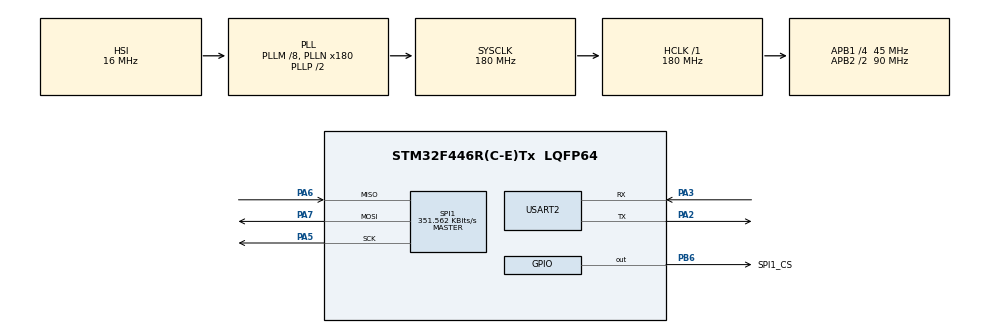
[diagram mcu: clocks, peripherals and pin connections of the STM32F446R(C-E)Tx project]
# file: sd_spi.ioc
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Mcu.Family=STM32F4
Mcu.Name=STM32F446R(C-E)Tx
Mcu.Package=LQFP64
NVIC.PriorityGroup=NVIC_PRIORITYGROUP_4
PA13.Mode=Serial_Wire
PA13.Signal=SYS_JTMS-SWDIO
PA14.Mode=Serial_Wire
PA14.Signal=SYS_JTCK-SWCLK
PA2.Mode=Asynchronous
PA2.Signal=USART2_TX
PA3.Mode=Asynchronous
PA3.Signal=USART2_RX
PA5.GPIO_PuPd=GPIO_NOPULL
PA5.GPIO_Speed=GPIO_SPEED_FREQ_LOW
PA5.Mode=Full_Duplex_Master
PA5.Signal=SPI1_SCK
PA6.GPIO_PuPd=GPIO_NOPULL
PA6.GPIO_Speed=GPIO_SPEED_FREQ_LOW
PA6.Mode=Full_Duplex_Master
PA6.Signal=SPI1_MISO
PA7.GPIO_PuPd=GPIO_NOPULL
PA7.GPIO_Speed=GPIO_SPEED_FREQ_LOW
PA7.Mode=Full_Duplex_Master
PA7.Signal=SPI1_MOSI
PB6.GPIO_Label=SPI1_CS
PB6.GPIO_PuPd=GPIO_NOPULL
PB6.PinState=GPIO_PIN_SET
PB6.Signal=GPIO_Output
ProjectManager.HeapSize=0x200
ProjectManager.StackSize=0x400
ProjectManager.TargetToolchain=STM32CubeIDE
RCC.AHBFreq_Value=180000000
RCC.APB1CLKDivider=RCC_HCLK_DIV4
RCC.APB1Freq_Value=45000000
RCC.APB1TimFreq_Value=90000000
RCC.APB2CLKDivider=RCC_HCLK_DIV2
RCC.APB2Freq_Value=90000000
RCC.APB2TimFreq_Value=180000000
RCC.CortexFreq_Value=180000000
RCC.HCLKFreq_Value=180000000
RCC.PLLM=8
RCC.PLLN=180
RCC.SYSCLKFreq_VALUE=180000000
RCC.SYSCLKSource=RCC_SYSCLKSOURCE_PLLCLK
RCC.USBFreq_Value=180000000
RCC.VCOOutputFreq_Value=360000000
SPI1.BaudRatePrescaler=SPI_BAUDRATEPRESCALER_256
SPI1.CalculateBaudRate=351.562 KBits/s
SPI1.Direction=SPI_DIRECTION_2LINES
SPI1.Mode=SPI_MODE_MASTER
SPI1.VirtualType=VM_MASTER
USART2.VirtualMode=VM_ASYNC
VP_FATFS_VS_Generic.Mode=User_defined
board=custom

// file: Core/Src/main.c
/* USER CODE BEGIN Header */
/**
  ******************************************************************************
  * @file           : main.c
  * @brief          : Main program body
  ******************************************************************************
  * @attention
  *
  * Copyright (c) 2024 STMicroelectronics.
  * All rights reserved.
  *
  * This software is licensed under terms that can be found in the LICENSE file
  * in the root directory of this software component.
  * If no LICENSE file comes with this software, it is provided AS-IS.
  *
  ******************************************************************************
  */
/* USER CODE END Header */
#include "main.h"
#include "fatfs.h"

/* USER CODE BEGIN Includes */
#include <stdio.h>
#include <string.h>
#include "sd.h"
/* USER CODE END Includes */

SPI_HandleTypeDef hspi1;

UART_HandleTypeDef huart2;

void SystemClock_Config(void);
static void MX_GPIO_Init(void);
static void MX_SPI1_Init(void);
static void MX_USART2_UART_Init(void);

int main(void)
{

  /* MCU Configuration--------------------------------------------------------*/

  /* Reset of all peripherals, Initializes the Flash interface and the Systick. */
  HAL_Init();

  /* Configure the system clock */
  SystemClock_Config();

  /* Initialize all configured peripherals */
  MX_GPIO_Init();
  MX_SPI1_Init();
  MX_USART2_UART_Init();
  MX_FATFS_Init();
  /* USER CODE BEGIN 2 */
  HAL_Delay(1000);
  sd_card_mount();
  sd_card_read("test.txt");
  sd_card_write("write.txt", "FUCKING these hoes like im Don Juan\r\n");
  sd_card_read("write.txt");
  sd_card_unmount();
  /* USER CODE END 2 */

  /* Infinite loop */
  while (1)
  {

  }
}

void SystemClock_Config(void)
{
  RCC_OscInitTypeDef RCC_OscInitStruct = {0};
  RCC_ClkInitTypeDef RCC_ClkInitStruct = {0};

  /** Configure the main internal regulator output voltage
  */
  __HAL_RCC_PWR_CLK_ENABLE();
  __HAL_PWR_VOLTAGESCALING_CONFIG(PWR_REGULATOR_VOLTAGE_SCALE1);

  /** Initializes the RCC Oscillators according to the specified parameters
  * in the RCC_OscInitTypeDef structure.
  */
  RCC_OscInitStruct.OscillatorType = RCC_OSCILLATORTYPE_HSI;
  RCC_OscInitStruct.HSIState = RCC_HSI_ON;
  RCC_OscInitStruct.HSICalibrationValue = RCC_HSICALIBRATION_DEFAULT;
  RCC_OscInitStruct.PLL.PLLState = RCC_PLL_ON;
  RCC_OscInitStruct.PLL.PLLSource = RCC_PLLSOURCE_HSI;
  RCC_OscInitStruct.PLL.PLLM = 8;
  RCC_OscInitStruct.PLL.PLLN = 180;
  RCC_OscInitStruct.PLL.PLLP = RCC_PLLP_DIV2;
  RCC_OscInitStruct.PLL.PLLQ = 2;
  RCC_OscInitStruct.PLL.PLLR = 2;
  if (HAL_RCC_OscConfig(&RCC_OscInitStruct) != HAL_OK)
  {
    Error_Handler();
  }

  /** Activate the Over-Drive mode
  */
  if (HAL_PWREx_EnableOverDrive() != HAL_OK)
  {
    Error_Handler();
  }

  /** Initializes the CPU, AHB and APB buses clocks
  */
  RCC_ClkInitStruct.ClockType = RCC_CLOCKTYPE_HCLK|RCC_CLOCKTYPE_SYSCLK
                              |RCC_CLOCKTYPE_PCLK1|RCC_CLOCKTYPE_PCLK2;
  RCC_ClkInitStruct.SYSCLKSource = RCC_SYSCLKSOURCE_PLLCLK;
  RCC_ClkInitStruct.AHBCLKDivider = RCC_SYSCLK_DIV1;
  RCC_ClkInitStruct.APB1CLKDivider = RCC_HCLK_DIV4;
  RCC_ClkInitStruct.APB2CLKDivider = RCC_HCLK_DIV2;

  if (HAL_RCC_ClockConfig(&RCC_ClkInitStruct, FLASH_LATENCY_5) != HAL_OK)
  {
    Error_Handler();
  }
}

static void MX_SPI1_Init(void)
{

  /* SPI1 parameter configuration*/
  hspi1.Instance = SPI1;
  hspi1.Init.Mode = SPI_MODE_MASTER;
  hspi1.Init.Direction = SPI_DIRECTION_2LINES;
  hspi1.Init.DataSize = SPI_DATASIZE_8BIT;
  hspi1.Init.CLKPolarity = SPI_POLARITY_LOW;
  hspi1.Init.CLKPhase = SPI_PHASE_1EDGE;
  hspi1.Init.NSS = SPI_NSS_SOFT;
  hspi1.Init.BaudRatePrescaler = SPI_BAUDRATEPRESCALER_256;
  hspi1.Init.FirstBit = SPI_FIRSTBIT_MSB;
  hspi1.Init.TIMode = SPI_TIMODE_DISABLE;
  hspi1.Init.CRCCalculation = SPI_CRCCALCULATION_DISABLE;
  hspi1.Init.CRCPolynomial = 10;
  if (HAL_SPI_Init(&hspi1) != HAL_OK)
  {
    Error_Handler();
  }

}

static void MX_USART2_UART_Init(void)
{

  huart2.Instance = USART2;
  huart2.Init.BaudRate = 115200;
  huart2.Init.WordLength = UART_WORDLENGTH_8B;
  huart2.Init.StopBits = UART_STOPBITS_1;
  huart2.Init.Parity = UART_PARITY_NONE;
  huart2.Init.Mode = UART_MODE_TX_RX;
  huart2.Init.HwFlowCtl = UART_HWCONTROL_NONE;
  huart2.Init.OverSampling = UART_OVERSAMPLING_16;
  if (HAL_UART_Init(&huart2) != HAL_OK)
  {
    Error_Handler();
  }

}

static void MX_GPIO_Init(void)
{
  GPIO_InitTypeDef GPIO_InitStruct = {0};

  /* GPIO Ports Clock Enable */
  __HAL_RCC_GPIOA_CLK_ENABLE();
  __HAL_RCC_GPIOB_CLK_ENABLE();

  /*Configure GPIO pin Output Level */
  HAL_GPIO_WritePin(SPI1_CS_GPIO_Port, SPI1_CS_Pin, GPIO_PIN_SET);

  /*Configure GPIO pin : SPI1_CS_Pin */
  GPIO_InitStruct.Pin = SPI1_CS_Pin;
  GPIO_InitStruct.Mode = GPIO_MODE_OUTPUT_PP;
  GPIO_InitStruct.Pull = GPIO_NOPULL;
  GPIO_InitStruct.Speed = GPIO_SPEED_FREQ_LOW;
  HAL_GPIO_Init(SPI1_CS_GPIO_Port, &GPIO_InitStruct);

}

/* USER CODE BEGIN 4 */
int _write(int file, char *ptr, int len)
{
  (void)file;
  int DataIdx;

  for (DataIdx = 0; DataIdx < len; DataIdx++)
  {
    ITM_SendChar(*ptr++);
  }
  return len;
}
/* USER CODE END 4 */

void Error_Handler(void)
{
  __disable_irq();
  while (1)
  {
  }
}
